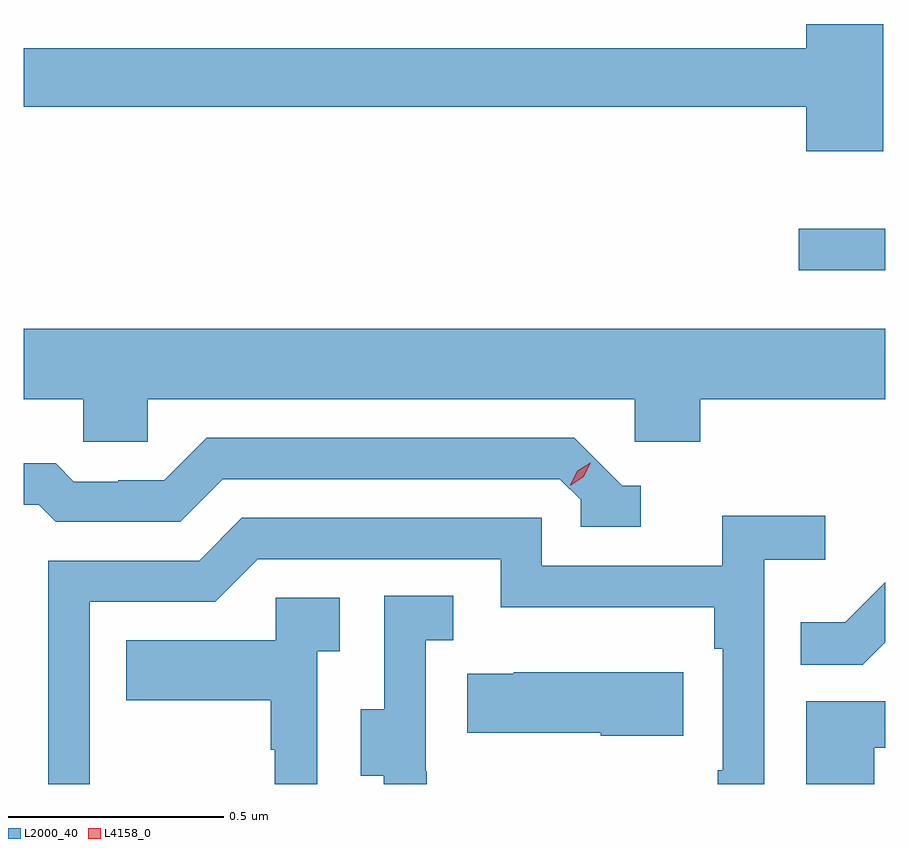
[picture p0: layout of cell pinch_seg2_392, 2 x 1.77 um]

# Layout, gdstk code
import gdstk
lib = gdstk.Library(unit=1e-6, precision=1e-09)
def R(c, l, rs):  # rectangles x0, y0, x1, y1
    for r in rs: c.add(gdstk.rectangle(r[:2], r[2:], *l))
def P(c, l, *ps):  # polygons
    for p in ps: c.add(gdstk.Polygon(p, *l))
L2000_40 = (2000, 40)
L4158_0 = (4158, 0)

pinch_seg2_392 = lib.new_cell('pinch_seg2_392')
R(pinch_seg2_392, L2000_40, [(986.949,605.312,987.149,605.409)])
P(pinch_seg2_392, L2000_40, [(987.145,605.884),(986.966,605.884),(986.966,605.828),(985.149,605.828),(985.149,605.692),(986.966,605.692),(986.966,605.588),(987.145,605.588)],
  [(985.437,605.012),(986.568,605.012),(986.568,604.914),(986.72,604.914),(986.72,605.012),(987.149,605.012),(987.149,605.176),(985.149,605.176),(985.149,605.012),(985.287,605.012),(985.287,604.914),(985.437,604.914)],
  [(986.581,604.812),(986.538,604.812),(986.427,604.923),(985.574,604.923),(985.475,604.824),(985.368,604.824),(985.368,604.821),(985.265,604.821),(985.223,604.864),(985.149,604.864),(985.149,604.767),(985.184,604.767),(985.223,604.728),(985.512,604.728),(985.611,604.827),(986.394,604.827),(986.442,604.779),(986.442,604.716),(986.581,604.716)],
  [(985.302,604.542),(985.593,604.542),(985.692,604.641),(986.256,604.641),(986.256,604.529),(986.752,604.529),(986.752,604.433),(986.772,604.433),(986.772,604.151),(986.76,604.151),(986.76,604.119),(986.868,604.119),(986.868,604.64),(987.01,604.64),(987.01,604.742),(986.771,604.742),(986.771,604.626),(986.352,604.626),(986.352,604.737),(985.655,604.737),(985.556,604.638),(985.206,604.638),(985.206,604.119),(985.302,604.119)],
  [(987.149,604.448),(987.149,604.587),(987.057,604.495),(986.953,604.495),(986.953,604.396),(987.097,604.396)],
  [(986.084,604.149),(986.082,604.149),(986.082,604.453),(986.146,604.453),(986.146,604.556),(985.986,604.556),(985.986,604.293),(985.931,604.293),(985.931,604.138),(985.985,604.138),(985.985,604.119),(986.084,604.119)],
  [(985.83,604.427),(985.882,604.427),(985.882,604.551),(985.734,604.551),(985.734,604.453),(985.387,604.453),(985.387,604.313),(985.722,604.313),(985.722,604.199),(985.732,604.199),(985.732,604.119),(985.83,604.119)],
  [(986.68,604.378),(986.287,604.378),(986.287,604.375),(986.179,604.375),(986.179,604.238),(986.489,604.238),(986.489,604.231),(986.68,604.231)],
  [(987.124,604.203),(987.149,604.203),(987.149,604.311),(986.966,604.311),(986.966,604.119),(987.124,604.119)])
P(pinch_seg2_392, L4158_0, [(986.418,604.813),(986.418,604.813),(986.434,604.846),(986.464,604.865),(986.465,604.865),(986.465,604.865),(986.449,604.832),(986.419,604.813)])

lib.write_gds('pinch_seg2_392.gds')
